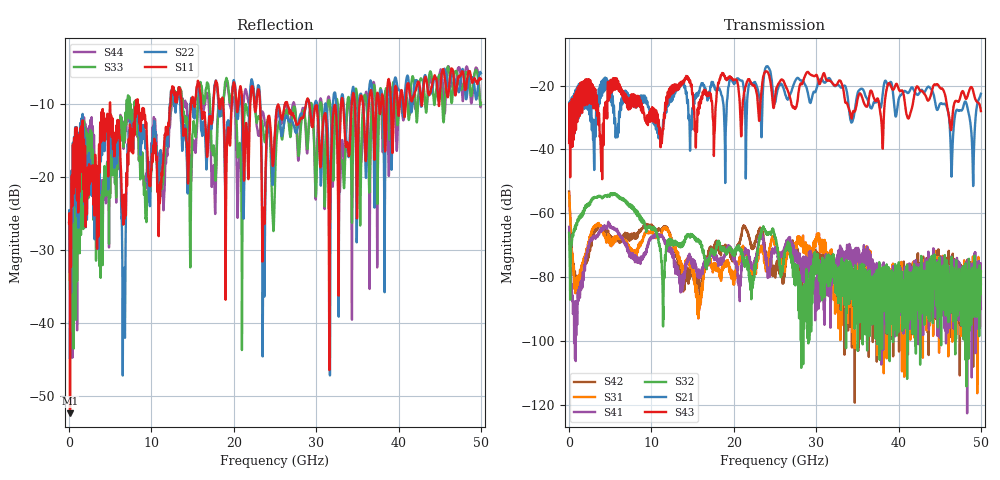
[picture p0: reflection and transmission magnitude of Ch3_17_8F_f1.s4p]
!Agilent Technologies,N5247A,US51170199,A.09.90.13
!Agilent N5247A: A.09.90.13
!Date: Wednesday, December 09, 2015 09:44:10
!Correction: S11(Full 4 Port(1,2,3,4))
!S12(Full 4 Port(1,2,3,4))
!S13(Full 4 Port(1,2,3,4))
!S14(Full 4 Port(1,2,3,4))
!S21(Full 4 Port(1,2,3,4))
!S22(Full 4 Port(1,2,3,4))
!S23(Full 4 Port(1,2,3,4))
!S24(Full 4 Port(1,2,3,4))
!S31(Full 4 Port(1,2,3,4))
!S32(Full 4 Port(1,2,3,4))
!S33(Full 4 Port(1,2,3,4))
!S34(Full 4 Port(1,2,3,4))
!S41(Full 4 Port(1,2,3,4))
!S42(Full 4 Port(1,2,3,4))
!S43(Full 4 Port(1,2,3,4))
!S44(Full 4 Port(1,2,3,4))
!S4P File: Measurements: <S11,S12,S13,S14>,
!<S21,S22,S23,S24>,
!<S31,S32,S33,S34>,
!<S41,S42,S43,S44>:
# Hz S  dB  R 50
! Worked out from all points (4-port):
!   3201 points, 10 MHz to 50 GHz, reference 50 ohm
!   strongest paths, dB at 10 MHz, 12.51 GHz, 25 GHz, 37.5 GHz, 50 GHz:
!     S43: -38.0, -21.4, -24.0, -24.1, -28.0
!     S21: -37.2, -22.5, -25.3, -24.8, -22.6
!     S32: -66.1, -69.8, -67.3, -87.0, -82.1
!     S41: -64.2, -72.2, -71.4, -79.6, -89.9
!     S31: -53.6, -69.0, -69.1, -79.2, -78.1
!     S42: -53.1, -68.8, -78.1, -83.3, -80.8
!   lowest |S11| = -52.4 dB at 119.4 MHz (marker M1), VSWR 1.00, Z = 50.1 + j0.232 ohm
!   |S11| at or under -10 dB: start of sweep to 4.961 GHz; 8.347 GHz to 12.32 GHz (3.971 GHz wide, 38.4 % of centre); 29.17 GHz to 33.03 GHz (3.864 GHz wide, 12.4 % of centre)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
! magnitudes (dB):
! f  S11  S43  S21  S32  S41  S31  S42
! 10 MHz  -26.4  -38.0  -37.2  -66.1  -64.2  -53.6  -53.1
! 119.4 MHz  -52.4  -35.0  -36.2  -83.7  -71.8  -59.6  -59.9
! 838 MHz  -19.4  -33.9  -30.8  -64.4  -92.2  -82.7  -84.6
! 6.649 GHz  -24.0  -23.8  -23.2  -55.8  -68.8  -68.0  -66.7
! 8.227 GHz  -11.1  -24.0  -25.8  -59.7  -73.8  -71.9  -66.3
! 23.65 GHz  -24.5  -16.6  -17.4  -64.6  -69.2  -72.8  -68.0
! 50 GHz  -6.6  -28.0  -22.6  -82.1  -89.9  -78.1  -80.8
